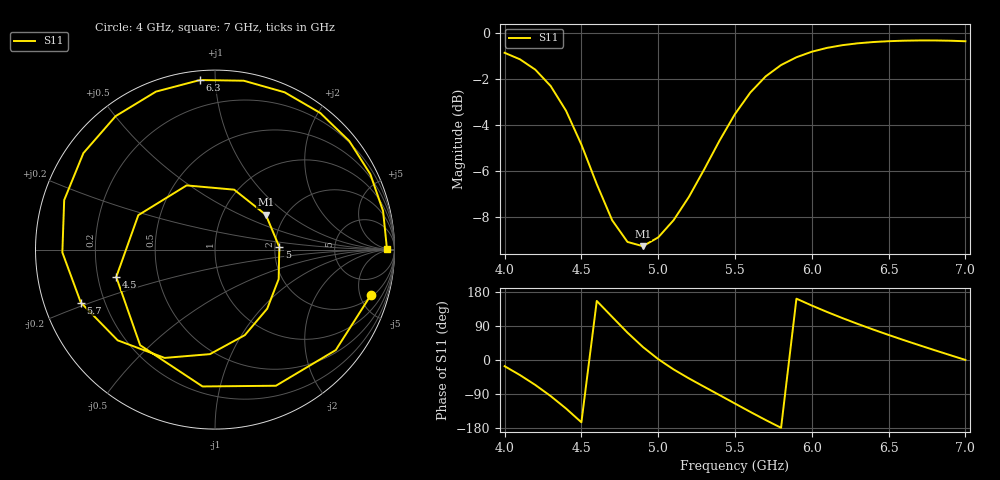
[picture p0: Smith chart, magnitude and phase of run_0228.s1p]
! Touchstone file exported from HFSS 2024.2.0
!  File:  C:/Users/wsak9/Desktop/Sim Fast/Widenad Patch/WP_AI_V1_sweep.aedt
!  Generated:  12:31:18 AM Oct 14, 2026
!  Design:  A1_model
!  Project:  WP_AI_V1_sweep
!  Setup:  Setup1
!  Solution:  Sweep
! Variables:
!  Air_gap = 4.65mm
!  Curve_Amp1 = 1.16
!  Curve_len1 = 1
!  Curve_pos = 12.385mm
!  Extra = 5.71mm
!  H_sub = 0.79mm
!  L_Patch = 20.77mm
!  L_Patch1 = 14.67mm
!  Sx = 2.43mm
!  Sy = 0.85mm
!  WS = 1.21mm
!  W_Patch = 13.67mm
!  W_Patch1 = 8.96mm
!Data is not renormalized
# GHz S MA
! Terminal data exported
! Port[1] = 1
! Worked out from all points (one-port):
!   31 points, 4 GHz to 7 GHz, reference per port
!   lowest |S11| = -9.3 dB at 4.9 GHz (marker M1), VSWR 2.05
!   |S11| at or under -10 dB: nowhere
!   S11 on the Smith chart (normalised r, x): 4 GHz: 2.22, -6.20; 4.5 GHz: 0.28, -0.13; 5 GHz: 2.12, +0.07; 5.7 GHz: 0.11, -0.19; 6.3 GHz: 0.05, +0.91; 7 GHz: 47, +3
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4  0.9044 -16.3
4.1  0.8753 -39.8
4.2  0.831 -65.9
4.3  0.7656 -95.2
4.4  0.6765 -128.1
4.5  0.571 -164.5
4.6  0.4683 155.8
4.7  0.391 113.8
4.8  0.3506 72.2
4.9  0.3432 34.5
5  0.3587 2.3
5.2  0.4394 -48.6
5.3  0.5047 -70.8
5.4  0.5831 -92.8
5.5  0.6655 -114.9
5.6  0.7413 -137.0
5.7  0.8037 -158.5
5.8  0.8506 -178.9
5.9  0.8844 161.8
6  0.9092 143.7
6.1  0.9271 126.7
6.2  0.9397 110.5
6.3  0.9484 95.1
6.4  0.9545 80.3
6.5  0.9585 66.1
6.7  0.962 39.0
6.9  0.9608 12.9
7  0.9582 0.2
